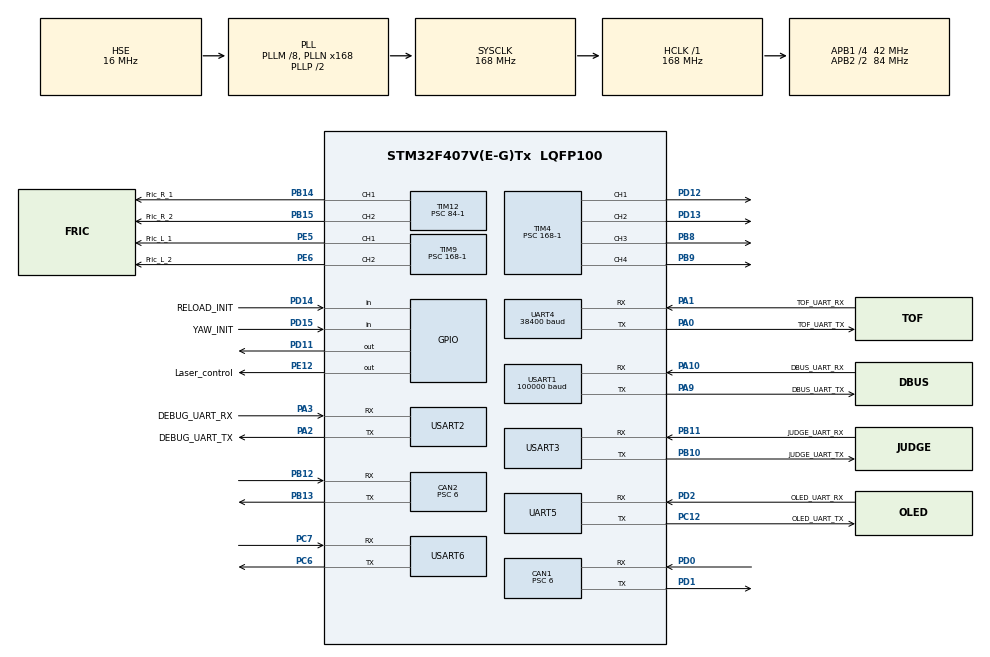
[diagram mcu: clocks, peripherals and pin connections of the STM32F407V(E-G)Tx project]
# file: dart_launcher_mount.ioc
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CAN1.ABOM=ENABLE
CAN1.BS1=CAN_BS1_3TQ
CAN1.BS2=CAN_BS2_3TQ
CAN1.CalculateBaudRate=1000000
CAN1.CalculateTimeBit=1000
CAN1.CalculateTimeQuantum=142.85714285714286
CAN1.Prescaler=6
CAN2.ABOM=ENABLE
CAN2.BS1=CAN_BS1_3TQ
CAN2.BS2=CAN_BS2_3TQ
CAN2.CalculateBaudRate=1000000
CAN2.CalculateTimeBit=1000
CAN2.CalculateTimeQuantum=142.85714285714286
CAN2.Prescaler=6
Dma.Request0=UART4_RX
Dma.Request1=UART4_TX
Dma.Request10=USART6_TX
Dma.Request11=USART6_RX
Dma.Request2=UART5_RX
Dma.Request3=UART5_TX
Dma.Request4=USART1_RX
Dma.Request5=USART1_TX
Dma.Request6=USART2_RX
Dma.Request7=USART2_TX
Dma.Request8=USART3_RX
Dma.Request9=USART3_TX
Dma.UART4_RX.0.Direction=DMA_PERIPH_TO_MEMORY
Dma.UART4_RX.0.FIFOMode=DMA_FIFOMODE_DISABLE
Dma.UART4_RX.0.Instance=DMA1_Stream2
Dma.UART4_RX.0.MemDataAlignment=DMA_MDATAALIGN_BYTE
Dma.UART4_RX.0.MemInc=DMA_MINC_ENABLE
Dma.UART4_RX.0.Mode=DMA_NORMAL
Dma.UART4_RX.0.PeriphDataAlignment=DMA_PDATAALIGN_BYTE
Dma.UART4_RX.0.PeriphInc=DMA_PINC_DISABLE
Dma.UART4_RX.0.Priority=DMA_PRIORITY_LOW
Dma.UART4_TX.1.Direction=DMA_MEMORY_TO_PERIPH
Dma.UART4_TX.1.FIFOMode=DMA_FIFOMODE_DISABLE
Dma.UART4_TX.1.Instance=DMA1_Stream4
Dma.UART4_TX.1.MemDataAlignment=DMA_MDATAALIGN_BYTE
Dma.UART4_TX.1.MemInc=DMA_MINC_ENABLE
Dma.UART4_TX.1.Mode=DMA_NORMAL
Dma.UART4_TX.1.PeriphDataAlignment=DMA_PDATAALIGN_BYTE
Dma.UART4_TX.1.PeriphInc=DMA_PINC_DISABLE
Dma.UART4_TX.1.Priority=DMA_PRIORITY_LOW
Dma.UART5_RX.2.Direction=DMA_PERIPH_TO_MEMORY
Dma.UART5_RX.2.FIFOMode=DMA_FIFOMODE_DISABLE
Dma.UART5_RX.2.Instance=DMA1_Stream0
Dma.UART5_RX.2.MemDataAlignment=DMA_MDATAALIGN_BYTE
Dma.UART5_RX.2.MemInc=DMA_MINC_ENABLE
Dma.UART5_RX.2.Mode=DMA_NORMAL
Dma.UART5_RX.2.PeriphDataAlignment=DMA_PDATAALIGN_BYTE
Dma.UART5_RX.2.PeriphInc=DMA_PINC_DISABLE
Dma.UART5_RX.2.Priority=DMA_PRIORITY_LOW
Dma.UART5_TX.3.Direction=DMA_MEMORY_TO_PERIPH
Dma.UART5_TX.3.FIFOMode=DMA_FIFOMODE_DISABLE
Dma.UART5_TX.3.Instance=DMA1_Stream7
Dma.UART5_TX.3.MemDataAlignment=DMA_MDATAALIGN_BYTE
Dma.UART5_TX.3.MemInc=DMA_MINC_ENABLE
Dma.UART5_TX.3.Mode=DMA_NORMAL
Dma.UART5_TX.3.PeriphDataAlignment=DMA_PDATAALIGN_BYTE
Dma.UART5_TX.3.PeriphInc=DMA_PINC_DISABLE
Dma.UART5_TX.3.Priority=DMA_PRIORITY_LOW
Dma.USART1_RX.4.Direction=DMA_PERIPH_TO_MEMORY
Dma.USART1_RX.4.FIFOMode=DMA_FIFOMODE_DISABLE
Dma.USART1_RX.4.Instance=DMA2_Stream2
Dma.USART1_RX.4.MemDataAlignment=DMA_MDATAALIGN_BYTE
Dma.USART1_RX.4.MemInc=DMA_MINC_ENABLE
Dma.USART1_RX.4.Mode=DMA_NORMAL
Dma.USART1_RX.4.PeriphDataAlignment=DMA_PDATAALIGN_BYTE
Dma.USART1_RX.4.PeriphInc=DMA_PINC_DISABLE
Dma.USART1_RX.4.Priority=DMA_PRIORITY_LOW
Dma.USART1_TX.5.Direction=DMA_MEMORY_TO_PERIPH
Dma.USART1_TX.5.FIFOMode=DMA_FIFOMODE_DISABLE
Dma.USART1_TX.5.Instance=DMA2_Stream7
Dma.USART1_TX.5.MemDataAlignment=DMA_MDATAALIGN_BYTE
Dma.USART1_TX.5.MemInc=DMA_MINC_ENABLE
Dma.USART1_TX.5.Mode=DMA_NORMAL
Dma.USART1_TX.5.PeriphDataAlignment=DMA_PDATAALIGN_BYTE
Dma.USART1_TX.5.PeriphInc=DMA_PINC_DISABLE
Dma.USART1_TX.5.Priority=DMA_PRIORITY_LOW
Dma.USART2_RX.6.Direction=DMA_PERIPH_TO_MEMORY
Dma.USART2_RX.6.FIFOMode=DMA_FIFOMODE_DISABLE
Dma.USART2_RX.6.Instance=DMA1_Stream5
Dma.USART2_RX.6.MemDataAlignment=DMA_MDATAALIGN_BYTE
Dma.USART2_RX.6.MemInc=DMA_MINC_ENABLE
Dma.USART2_RX.6.Mode=DMA_NORMAL
Dma.USART2_RX.6.PeriphDataAlignment=DMA_PDATAALIGN_BYTE
Dma.USART2_RX.6.PeriphInc=DMA_PINC_DISABLE
Dma.USART2_RX.6.Priority=DMA_PRIORITY_LOW
Dma.USART2_TX.7.Direction=DMA_MEMORY_TO_PERIPH
Dma.USART2_TX.7.FIFOMode=DMA_FIFOMODE_DISABLE
Dma.USART2_TX.7.Instance=DMA1_Stream6
Dma.USART2_TX.7.MemDataAlignment=DMA_MDATAALIGN_BYTE
Dma.USART2_TX.7.MemInc=DMA_MINC_ENABLE
Dma.USART2_TX.7.Mode=DMA_NORMAL
Dma.USART2_TX.7.PeriphDataAlignment=DMA_PDATAALIGN_BYTE
Dma.USART2_TX.7.PeriphInc=DMA_PINC_DISABLE
Dma.USART2_TX.7.Priority=DMA_PRIORITY_LOW
Dma.USART3_RX.8.Direction=DMA_PERIPH_TO_MEMORY
Dma.USART3_RX.8.FIFOMode=DMA_FIFOMODE_DISABLE
Dma.USART3_RX.8.Instance=DMA1_Stream1
Dma.USART3_RX.8.MemDataAlignment=DMA_MDATAALIGN_BYTE
Dma.USART3_RX.8.MemInc=DMA_MINC_ENABLE
Dma.USART3_RX.8.Mode=DMA_NORMAL
Dma.USART3_RX.8.PeriphDataAlignment=DMA_PDATAALIGN_BYTE
Dma.USART3_RX.8.PeriphInc=DMA_PINC_DISABLE
Dma.USART3_RX.8.Priority=DMA_PRIORITY_LOW
Dma.USART3_TX.9.Direction=DMA_MEMORY_TO_PERIPH
Dma.USART3_TX.9.FIFOMode=DMA_FIFOMODE_DISABLE
Dma.USART3_TX.9.Instance=DMA1_Stream3
Dma.USART3_TX.9.MemDataAlignment=DMA_MDATAALIGN_BYTE
Dma.USART3_TX.9.MemInc=DMA_MINC_ENABLE
Dma.USART3_TX.9.Mode=DMA_NORMAL
Dma.USART3_TX.9.PeriphDataAlignment=DMA_PDATAALIGN_BYTE
Dma.USART3_TX.9.PeriphInc=DMA_PINC_DISABLE
Dma.USART3_TX.9.Priority=DMA_PRIORITY_LOW
Dma.USART6_RX.11.Direction=DMA_PERIPH_TO_MEMORY
Dma.USART6_RX.11.FIFOMode=DMA_FIFOMODE_DISABLE
Dma.USART6_RX.11.Instance=DMA2_Stream1
Dma.USART6_RX.11.MemDataAlignment=DMA_MDATAALIGN_BYTE
Dma.USART6_RX.11.MemInc=DMA_MINC_ENABLE
Dma.USART6_RX.11.Mode=DMA_NORMAL
Dma.USART6_RX.11.PeriphDataAlignment=DMA_PDATAALIGN_BYTE
Dma.USART6_RX.11.PeriphInc=DMA_PINC_DISABLE
Dma.USART6_RX.11.Priority=DMA_PRIORITY_LOW
Dma.USART6_TX.10.Direction=DMA_MEMORY_TO_PERIPH
Dma.USART6_TX.10.FIFOMode=DMA_FIFOMODE_DISABLE
Dma.USART6_TX.10.Instance=DMA2_Stream6
Dma.USART6_TX.10.MemDataAlignment=DMA_MDATAALIGN_BYTE
Dma.USART6_TX.10.MemInc=DMA_MINC_ENABLE
Dma.USART6_TX.10.Mode=DMA_NORMAL
Dma.USART6_TX.10.PeriphDataAlignment=DMA_PDATAALIGN_BYTE
Dma.USART6_TX.10.PeriphInc=DMA_PINC_DISABLE
Dma.USART6_TX.10.Priority=DMA_PRIORITY_LOW
FREERTOS.INCLUDE_uxTaskGetStackHighWaterMark=1
FREERTOS.INCLUDE_vTaskDelayUntil=1
FREERTOS.Tasks01=defaultTask,0,128,StartDefaultTask,Default,NULL,Dynamic,NULL,NULL
FREERTOS.configUSE_CO_ROUTINES=0
FREERTOS.configUSE_TIMERS=1
Mcu.Family=STM32F4
Mcu.Name=STM32F407V(E-G)Tx
Mcu.Package=LQFP100
NVIC.CAN1_RX0_IRQn=true\:5\:0\:false\:false\:true\:true\:true\:true\:true
NVIC.CAN1_RX1_IRQn=true\:5\:0\:false\:false\:true\:true\:true\:true\:true
NVIC.CAN1_SCE_IRQn=true\:5\:0\:false\:false\:true\:true\:true\:true\:true
NVIC.CAN1_TX_IRQn=true\:5\:0\:false\:false\:true\:true\:true\:true\:true
NVIC.CAN2_RX0_IRQn=true\:5\:0\:false\:false\:true\:true\:true\:true\:true
NVIC.CAN2_RX1_IRQn=true\:5\:0\:false\:false\:true\:true\:true\:true\:true
NVIC.CAN2_SCE_IRQn=true\:5\:0\:false\:false\:true\:true\:true\:true\:true
NVIC.CAN2_TX_IRQn=true\:5\:0\:false\:false\:true\:true\:true\:true\:true
NVIC.DMA1_Stream0_IRQn=true\:5\:0\:false\:false\:true\:true\:false\:true\:true
NVIC.DMA1_Stream1_IRQn=true\:5\:0\:false\:false\:true\:true\:false\:true\:true
NVIC.DMA1_Stream2_IRQn=true\:5\:0\:false\:false\:true\:true\:false\:true\:true
NVIC.DMA1_Stream3_IRQn=true\:5\:0\:false\:false\:true\:true\:false\:true\:true
NVIC.DMA1_Stream4_IRQn=true\:5\:0\:false\:false\:true\:true\:false\:true\:true
NVIC.DMA1_Stream5_IRQn=true\:5\:0\:false\:false\:true\:true\:false\:true\:true
NVIC.DMA1_Stream6_IRQn=true\:5\:0\:false\:false\:true\:true\:false\:true\:true
NVIC.DMA1_Stream7_IRQn=true\:5\:0\:false\:false\:true\:true\:false\:true\:true
NVIC.DMA2_Stream1_IRQn=true\:5\:0\:false\:false\:true\:true\:false\:true\:true
NVIC.DMA2_Stream2_IRQn=true\:5\:0\:false\:false\:true\:true\:false\:true\:true
NVIC.DMA2_Stream6_IRQn=true\:5\:0\:false\:false\:true\:true\:false\:true\:true
NVIC.DMA2_Stream7_IRQn=true\:5\:0\:false\:false\:true\:true\:false\:true\:true
NVIC.PriorityGroup=NVIC_PRIORITYGROUP_4
NVIC.TIM1_BRK_TIM9_IRQn=true\:5\:0\:false\:false\:true\:true\:true\:true\:true
NVIC.TIM2_IRQn=true\:15\:0\:false\:false\:true\:false\:false\:true\:true
NVIC.TIM3_IRQn=true\:5\:0\:false\:false\:true\:true\:true\:true\:true
NVIC.TIM4_IRQn=true\:5\:0\:false\:false\:true\:true\:true\:true\:true
NVIC.TIM5_IRQn=true\:5\:0\:false\:false\:true\:true\:true\:true\:true
NVIC.TIM8_BRK_TIM12_IRQn=true\:5\:0\:false\:false\:true\:true\:true\:true\:true
NVIC.TimeBase=TIM2_IRQn
NVIC.TimeBaseIP=TIM2
NVIC.UART4_IRQn=true\:5\:0\:false\:false\:true\:true\:false\:true\:true
NVIC.UART5_IRQn=true\:5\:0\:false\:false\:true\:true\:false\:true\:true
NVIC.USART1_IRQn=true\:5\:0\:false\:false\:true\:true\:false\:true\:true
NVIC.USART2_IRQn=true\:5\:0\:false\:false\:true\:true\:false\:true\:true
NVIC.USART3_IRQn=true\:5\:0\:false\:false\:true\:true\:true\:true\:true
NVIC.USART6_IRQn=true\:5\:0\:false\:false\:true\:true\:false\:true\:true
PA0-WKUP.GPIO_Label=TOF_UART_TX
PA0-WKUP.Mode=Asynchronous
PA0-WKUP.Signal=UART4_TX
PA1.GPIO_Label=TOF_UART_RX
PA1.Mode=Asynchronous
PA1.Signal=UART4_RX
PA10.GPIO_Label=DBUS_UART_RX
PA10.Mode=Asynchronous
PA10.Signal=USART1_RX
PA13.Mode=Serial_Wire
PA13.Signal=SYS_JTMS-SWDIO
PA14.Mode=Serial_Wire
PA14.Signal=SYS_JTCK-SWCLK
PA2.GPIO_Label=DEBUG_UART_TX
PA2.Mode=Asynchronous
PA2.Signal=USART2_TX
PA3.GPIO_Label=DEBUG_UART_RX
PA3.Mode=Asynchronous
PA3.Signal=USART2_RX
PA9.GPIO_Label=DBUS_UART_TX
PA9.Mode=Asynchronous
PA9.Signal=USART1_TX
PB10.GPIO_Label=JUDGE_UART_TX
PB10.Mode=Asynchronous
PB10.Signal=USART3_TX
PB11.GPIO_Label=JUDGE_UART_RX
PB11.Mode=Asynchronous
PB11.Signal=USART3_RX
PB12.Mode=CAN_Activate
PB12.Signal=CAN2_RX
PB13.Mode=CAN_Activate
PB13.Signal=CAN2_TX
PB14.GPIO_Label=Fric_R_1
PB14.Signal=S_TIM12_CH1
PB15.GPIO_Label=Fric_R_2
PB15.Signal=S_TIM12_CH2
PB8.Signal=S_TIM4_CH3
PB9.Signal=S_TIM4_CH4
PC12.GPIO_Label=OLED_UART_TX
PC12.Mode=Asynchronous
PC12.Signal=UART5_TX
PC6.Mode=Asynchronous
PC6.Signal=USART6_TX
PC7.Mode=Asynchronous
PC7.Signal=USART6_RX
PD0.Mode=CAN_Activate
PD0.Signal=CAN1_RX
PD1.Mode=CAN_Activate
PD1.Signal=CAN1_TX
PD11.Signal=GPIO_Output
PD12.Signal=S_TIM4_CH1
PD13.Signal=S_TIM4_CH2
PD14.GPIO_Label=RELOAD_INIT
PD14.GPIO_PuPd=GPIO_PULLUP
PD14.Signal=GPIO_Input
PD15.GPIO_Label=YAW_INIT
PD15.GPIO_PuPd=GPIO_PULLUP
PD15.Signal=GPIO_Input
PD2.GPIO_Label=OLED_UART_RX
PD2.Mode=Asynchronous
PD2.Signal=UART5_RX
PE12.GPIO_Label=Laser_control
PE12.Signal=GPIO_Output
PE5.GPIO_Label=Fric_L_1
PE5.Signal=S_TIM9_CH1
PE6.GPIO_Label=Fric_L_2
PE6.Signal=S_TIM9_CH2
PH0-OSC_IN.Mode=HSE-External-Oscillator
PH0-OSC_IN.Signal=RCC_OSC_IN
PH1-OSC_OUT.Mode=HSE-External-Oscillator
PH1-OSC_OUT.Signal=RCC_OSC_OUT
ProjectManager.HeapSize=0x1000
ProjectManager.StackSize=0x600
ProjectManager.TargetToolchain=MDK-ARM V5.32
RCC.48MHZClocksFreq_Value=84000000
RCC.AHBFreq_Value=168000000
RCC.APB1CLKDivider=RCC_HCLK_DIV4
RCC.APB1Freq_Value=42000000
RCC.APB1TimFreq_Value=84000000
RCC.APB2CLKDivider=RCC_HCLK_DIV2
RCC.APB2Freq_Value=84000000
RCC.APB2TimFreq_Value=168000000
RCC.CortexFreq_Value=168000000
RCC.HCLKFreq_Value=168000000
RCC.HSE_VALUE=16000000
RCC.HSI_VALUE=16000000
RCC.LSE_VALUE=32768
RCC.PLLM=8
RCC.PLLN=168
RCC.PLLSourceVirtual=RCC_PLLSOURCE_HSE
RCC.SYSCLKFreq_VALUE=168000000
RCC.SYSCLKSource=RCC_SYSCLKSOURCE_PLLCLK
RCC.VCOOutputFreq_Value=336000000
SH.S_TIM12_CH1.0=TIM12_CH1,PWM Generation1 CH1
SH.S_TIM12_CH2.0=TIM12_CH2,PWM Generation2 CH2
SH.S_TIM4_CH1.0=TIM4_CH1,PWM Generation1 CH1
SH.S_TIM4_CH2.0=TIM4_CH2,PWM Generation2 CH2
SH.S_TIM4_CH3.0=TIM4_CH3,PWM Generation3 CH3
SH.S_TIM4_CH4.0=TIM4_CH4,PWM Generation4 CH4
SH.S_TIM9_CH1.0=TIM9_CH1,PWM Generation1 CH1
SH.S_TIM9_CH2.0=TIM9_CH2,PWM Generation2 CH2
TIM12.Channel-PWM\ Generation1\ CH1=TIM_CHANNEL_1
TIM12.Channel-PWM\ Generation2\ CH2=TIM_CHANNEL_2
TIM12.Prescaler=84-1
TIM3.Period=999
TIM3.Prescaler=83
TIM4.Channel-PWM\ Generation1\ CH1=TIM_CHANNEL_1
TIM4.Channel-PWM\ Generation2\ CH2=TIM_CHANNEL_2
TIM4.Channel-PWM\ Generation3\ CH3=TIM_CHANNEL_3
TIM4.Channel-PWM\ Generation4\ CH4=TIM_CHANNEL_4
TIM4.Prescaler=168-1
TIM5.Prescaler=8400-1
TIM9.Channel-PWM\ Generation1\ CH1=TIM_CHANNEL_1
TIM9.Channel-PWM\ Generation2\ CH2=TIM_CHANNEL_2
TIM9.Prescaler=168-1
UART4.BaudRate=38400
UART4.VirtualMode=Asynchronous
UART5.VirtualMode=Asynchronous
USART1.BaudRate=100000
USART1.Parity=PARITY_EVEN
USART1.VirtualMode=VM_ASYNC
USART1.WordLength=WORDLENGTH_9B
USART2.VirtualMode=VM_ASYNC
USART3.VirtualMode=VM_ASYNC
USART6.VirtualMode=VM_ASYNC
VP_FREERTOS_VS_CMSIS_V1.Mode=CMSIS_V1
VP_SYS_VS_tim2.Mode=TIM2
VP_TIM12_VS_ClockSourceINT.Mode=Internal
VP_TIM3_VS_ClockSourceINT.Mode=Internal
VP_TIM4_VS_ClockSourceINT.Mode=Internal
VP_TIM5_VS_ClockSourceINT.Mode=Internal
VP_TIM9_VS_ClockSourceINT.Mode=Internal
board=custom

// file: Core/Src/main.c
/* USER CODE BEGIN Header */
/**
  ******************************************************************************
  * @file           : main.c
  * @brief          : Main program body
  ******************************************************************************
  * @attention
  *
  * Copyright (c) 2025 STMicroelectronics.
  * All rights reserved.
  *
  * This software is licensed under terms that can be found in the LICENSE file
  * in the root directory of this software component.
  * If no LICENSE file comes with this software, it is provided AS-IS.
  *
  ******************************************************************************
  */
/* USER CODE END Header */
#include "main.h"
#include "cmsis_os.h"
#include "can.h"
#include "dma.h"
#include "tim.h"
#include "usart.h"
#include "gpio.h"

/* USER CODE BEGIN Includes */
#include "can_comm.h"
#include "bsp_usart.h"
#include "micro_swicth.h"
#include "reload_task.h"
/* USER CODE END Includes */

void SystemClock_Config(void);
void MX_FREERTOS_Init(void);

int main(void)
{

  /* MCU Configuration--------------------------------------------------------*/

  /* Reset of all peripherals, Initializes the Flash interface and the Systick. */
  HAL_Init();

  /* Configure the system clock */
  SystemClock_Config();

  /* Initialize all configured peripherals */
  MX_GPIO_Init();
  MX_DMA_Init();
  MX_CAN1_Init();
  MX_CAN2_Init();
  MX_UART4_Init();
  MX_UART5_Init();
  MX_USART1_UART_Init();
  MX_USART2_UART_Init();
  MX_USART3_UART_Init();
  MX_USART6_UART_Init();
  MX_TIM4_Init();
  MX_TIM5_Init();
  MX_TIM9_Init();
  MX_TIM12_Init();
  MX_TIM3_Init();
  /* USER CODE BEGIN 2 */
	Can_Device_Init();
	USER_UART_Init();

	HAL_TIM_Base_Start_IT(&htim3);

  /* USER CODE END 2 */

  /* Call init function for freertos objects (in cmsis_os2.c) */
  MX_FREERTOS_Init();

  /* Start scheduler */
  osKernelStart();

  /* We should never get here as control is now taken by the scheduler */

  /* Infinite loop */
  while (1)
  {

  }
}

void SystemClock_Config(void)
{
  RCC_OscInitTypeDef RCC_OscInitStruct = {0};
  RCC_ClkInitTypeDef RCC_ClkInitStruct = {0};

  /** Configure the main internal regulator output voltage
  */
  __HAL_RCC_PWR_CLK_ENABLE();
  __HAL_PWR_VOLTAGESCALING_CONFIG(PWR_REGULATOR_VOLTAGE_SCALE1);

  /** Initializes the RCC Oscillators according to the specified parameters
  * in the RCC_OscInitTypeDef structure.
  */
  RCC_OscInitStruct.OscillatorType = RCC_OSCILLATORTYPE_HSE;
  RCC_OscInitStruct.HSEState = RCC_HSE_ON;
  RCC_OscInitStruct.PLL.PLLState = RCC_PLL_ON;
  RCC_OscInitStruct.PLL.PLLSource = RCC_PLLSOURCE_HSE;
  RCC_OscInitStruct.PLL.PLLM = 8;
  RCC_OscInitStruct.PLL.PLLN = 168;
  RCC_OscInitStruct.PLL.PLLP = RCC_PLLP_DIV2;
  RCC_OscInitStruct.PLL.PLLQ = 4;
  if (HAL_RCC_OscConfig(&RCC_OscInitStruct) != HAL_OK)
  {
    Error_Handler();
  }

  /** Initializes the CPU, AHB and APB buses clocks
  */
  RCC_ClkInitStruct.ClockType = RCC_CLOCKTYPE_HCLK|RCC_CLOCKTYPE_SYSCLK
                              |RCC_CLOCKTYPE_PCLK1|RCC_CLOCKTYPE_PCLK2;
  RCC_ClkInitStruct.SYSCLKSource = RCC_SYSCLKSOURCE_PLLCLK;
  RCC_ClkInitStruct.AHBCLKDivider = RCC_SYSCLK_DIV1;
  RCC_ClkInitStruct.APB1CLKDivider = RCC_HCLK_DIV4;
  RCC_ClkInitStruct.APB2CLKDivider = RCC_HCLK_DIV2;

  if (HAL_RCC_ClockConfig(&RCC_ClkInitStruct, FLASH_LATENCY_5) != HAL_OK)
  {
    Error_Handler();
  }
}

void HAL_TIM_PeriodElapsedCallback(TIM_HandleTypeDef *htim)
{

  /* USER CODE BEGIN Callback 0 */
	if (htim->Instance == TIM3)//1ms定时器
	{
		MicroSwicth_Callback();

		Reload_Tick();
	}
  /* USER CODE END Callback 0 */
  if (htim->Instance == TIM2)
  {
    HAL_IncTick();

  }
}

void Error_Handler(void)
{
  __disable_irq();
  while (1)
  {
  }
}

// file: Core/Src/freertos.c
/* USER CODE BEGIN Header */
/**
  ******************************************************************************
  * File Name          : freertos.c
  * Description        : Code for freertos applications
  ******************************************************************************
  * @attention
  *
  * Copyright (c) 2025 STMicroelectronics.
  * All rights reserved.
  *
  * This software is licensed under terms that can be found in the LICENSE file
  * in the root directory of this software component.
  * If no LICENSE file comes with this software, it is provided AS-IS.
  *
  ******************************************************************************
  */
/* USER CODE END Header */

#include "FreeRTOS.h"
#include "task.h"
#include "main.h"
#include "cmsis_os.h"

/* USER CODE BEGIN Includes */
#include "can_comm.h"
#include "bsp_serial_screen.h"

#include "shoot_task.h"
#include "reload_task.h"
#include "gimbal_task.h"

#include "modeswitch_task.h"

#include "debug_task.h"
/* USER CODE END Includes */

osThreadId defaultTaskHandle;

/* USER CODE BEGIN FunctionPrototypes */
osThreadId can_send_task_handle;

osThreadId shoot_task_handle;
osThreadId reload_task_handle;
osThreadId giambal_task_handle;
osThreadId modeswitch_task_handle;

osThreadId serial_screen_task_handle;

osThreadId debug_task_handle;
/* USER CODE END FunctionPrototypes */

void StartDefaultTask(void const * argument);

void MX_FREERTOS_Init(void); /* (MISRA C 2004 rule 8.1) */

/* GetIdleTaskMemory prototype (linked to static allocation support) */
void vApplicationGetIdleTaskMemory( StaticTask_t **ppxIdleTaskTCBBuffer, StackType_t **ppxIdleTaskStackBuffer, uint32_t *pulIdleTaskStackSize );

/* GetTimerTaskMemory prototype (linked to static allocation support) */
void vApplicationGetTimerTaskMemory( StaticTask_t **ppxTimerTaskTCBBuffer, StackType_t **ppxTimerTaskStackBuffer, uint32_t *pulTimerTaskStackSize );

/* USER CODE BEGIN GET_IDLE_TASK_MEMORY */
static StaticTask_t xIdleTaskTCBBuffer;
static StackType_t xIdleStack[configMINIMAL_STACK_SIZE];

void vApplicationGetIdleTaskMemory( StaticTask_t **ppxIdleTaskTCBBuffer, StackType_t **ppxIdleTaskStackBuffer, uint32_t *pulIdleTaskStackSize )
{
  *ppxIdleTaskTCBBuffer = &xIdleTaskTCBBuffer;
  *ppxIdleTaskStackBuffer = &xIdleStack[0];
  *pulIdleTaskStackSize = configMINIMAL_STACK_SIZE;
  /* place for user code */
}
/* USER CODE END GET_IDLE_TASK_MEMORY */

/* USER CODE BEGIN GET_TIMER_TASK_MEMORY */
static StaticTask_t xTimerTaskTCBBuffer;
static StackType_t xTimerStack[configTIMER_TASK_STACK_DEPTH];

void vApplicationGetTimerTaskMemory( StaticTask_t **ppxTimerTaskTCBBuffer, StackType_t **ppxTimerTaskStackBuffer, uint32_t *pulTimerTaskStackSize )
{
  *ppxTimerTaskTCBBuffer = &xTimerTaskTCBBuffer;
  *ppxTimerTaskStackBuffer = &xTimerStack[0];
  *pulTimerTaskStackSize = configTIMER_TASK_STACK_DEPTH;
  /* place for user code */
}
/* USER CODE END GET_TIMER_TASK_MEMORY */

void MX_FREERTOS_Init(void) {

  /* Create the thread(s) */
  /* definition and creation of defaultTask */
  osThreadDef(defaultTask, StartDefaultTask, osPriorityNormal, 0, 128);
  defaultTaskHandle = osThreadCreate(osThread(defaultTask), NULL);

  /* USER CODE BEGIN RTOS_THREADS */
  /* add threads, ... */
  taskENTER_CRITICAL();
/**************************High Priority****************************/
    osThreadDef(canSendTask, Can_Send_Task, osPriorityHigh, 0, 256);
	can_send_task_handle = osThreadCreate(osThread(canSendTask), NULL);

/**************************osPriorityAboveNormal Priority****************************/

	osThreadDef(shootTask, Shoot_Task, osPriorityAboveNormal, 0, 256);
	shoot_task_handle = osThreadCreate(osThread(shootTask), NULL);

	osThreadDef(gimbalTask, Gimbal_Task, osPriorityAboveNormal, 0, 256);
	reload_task_handle = osThreadCreate(osThread(gimbalTask), NULL);

	osThreadDef(reloadTask, Reload_Task, osPriorityAboveNormal, 0, 256);
	giambal_task_handle = osThreadCreate(osThread(reloadTask), NULL);

/**************************osPriorityNormal Priority****************************/
	osThreadDef(modeswitchTask, ModeSwitch_Task, osPriorityNormal, 0, 256);
	modeswitch_task_handle = osThreadCreate(osThread(modeswitchTask), NULL);

/**************************osPriorityBelowNormal Priority****************************/

	osThreadDef(serialscreenTask, Serial_Screen_Task, osPriorityBelowNormal, 0, 256);
	serial_screen_task_handle = osThreadCreate(osThread(serialscreenTask), NULL);

/**************************Low Priority****************************/
	osThreadDef(debugTask, Debug_Task, osPriorityLow, 0, 500);
	debug_task_handle = osThreadCreate(osThread(debugTask), NULL);
	taskEXIT_CRITICAL();
  /* USER CODE END RTOS_THREADS */

}

void StartDefaultTask(void const * argument)
{
  for(;;)
  {
    osDelay(1);
  }
}
